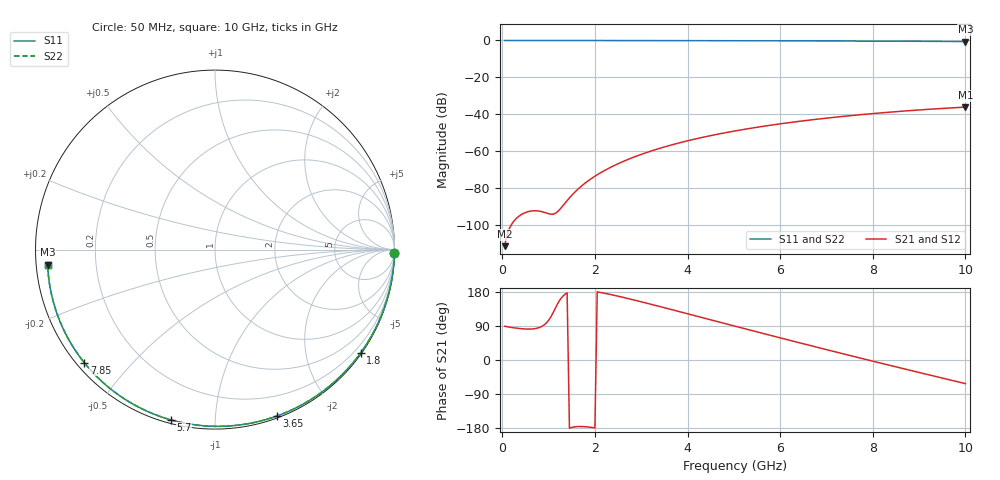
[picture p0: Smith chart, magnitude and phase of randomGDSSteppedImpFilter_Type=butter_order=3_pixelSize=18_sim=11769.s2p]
! freq	dB(S11)	phase(S11)	dB(S12)	phase(S12)
!  dB(S21)	phase(S21)	dB(S22)	phase(S22)
!S-par simulation data
#  GHz  S  DB  R 50
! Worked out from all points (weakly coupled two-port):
!   200 points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, 50 MHz to 10 GHz, reference 50 ohm
!   highest |S21| = -36.09 dB at 10 GHz (marker M1); lowest = -111.4 dB at 50 MHz (marker M2)
!   lowest |S11| = -0.6 dB at 10 GHz (marker M3), VSWR 30.37, Z = 1.65 - j2.26 ohm
!   |S11| at or under -10 dB: nowhere
!   |S22| runs from -0.6 to 0.0 dB; largest |S21 - S12| = 0
!   S11 on the Smith chart (normalised r, x): 50 MHz: open; 1.8 GHz: 0.03, -3.14; 3.65 GHz: 0.02, -1.44; 5.7 GHz: 0.02, -0.77; 7.85 GHz: 0.02, -0.37; 10 GHz: 0.03, -0.05
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0.05  -0.00 -1.0  -111.37 88.9  -111.37 88.9  -0.00 -1.0
0.45  -0.01 -9.0  -93.72 82.2  -93.72 82.2  -0.01 -9.0
0.85  -0.02 -16.9  -92.65 88.4  -92.65 88.4  -0.02 -16.9
1.65  -0.04 -32.5  -80.13 -175.5  -80.13 -175.5  -0.04 -32.5
1.75  -0.04 -34.4  -78.00 -175.7  -78.00 -175.7  -0.04 -34.4
1.8  -0.04 -35.3  -77.02 -176.1  -77.02 -176.1  -0.04 -35.3
2.1  -0.05 -41.1  -71.95 178.7  -71.95 178.7  -0.05 -41.1
2.3  -0.06 -44.9  -69.18 173.8  -69.18 173.8  -0.06 -44.8
2.5  -0.06 -48.6  -66.74 168.4  -66.74 168.4  -0.06 -48.6
2.9  -0.07 -56.0  -62.59 156.7  -62.59 156.7  -0.07 -56.0
3.4  -0.09 -65.1  -58.39 141.1  -58.39 141.1  -0.09 -65.1
3.65  -0.09 -69.6  -56.59 133.2  -56.59 133.2  -0.09 -69.6
4.35  -0.12 -81.9  -52.31 110.9  -52.31 110.9  -0.12 -81.8
5.05  -0.14 -93.8  -48.87 88.5  -48.87 88.5  -0.14 -93.7
5.7  -0.18 -104.6  -46.22 67.9  -46.22 67.9  -0.18 -104.5
6.2  -0.20 -112.7  -44.46 52.2  -44.46 52.2  -0.20 -112.7
6.7  -0.24 -120.8  -42.90 36.6  -42.90 36.6  -0.24 -120.7
7.25  -0.28 -129.6  -41.38 19.7  -41.38 19.7  -0.28 -129.5
7.85  -0.33 -139.2  -39.92 1.4  -39.92 1.4  -0.33 -139.1
8.35  -0.38 -147.2  -38.85 -13.6  -38.85 -13.6  -0.38 -147.2
9.2  -0.47 -161.2  -37.28 -38.9  -37.28 -38.9  -0.47 -161.1
10  -0.57 -174.8  -36.09 -62.3  -36.09 -62.3  -0.57 -174.7
